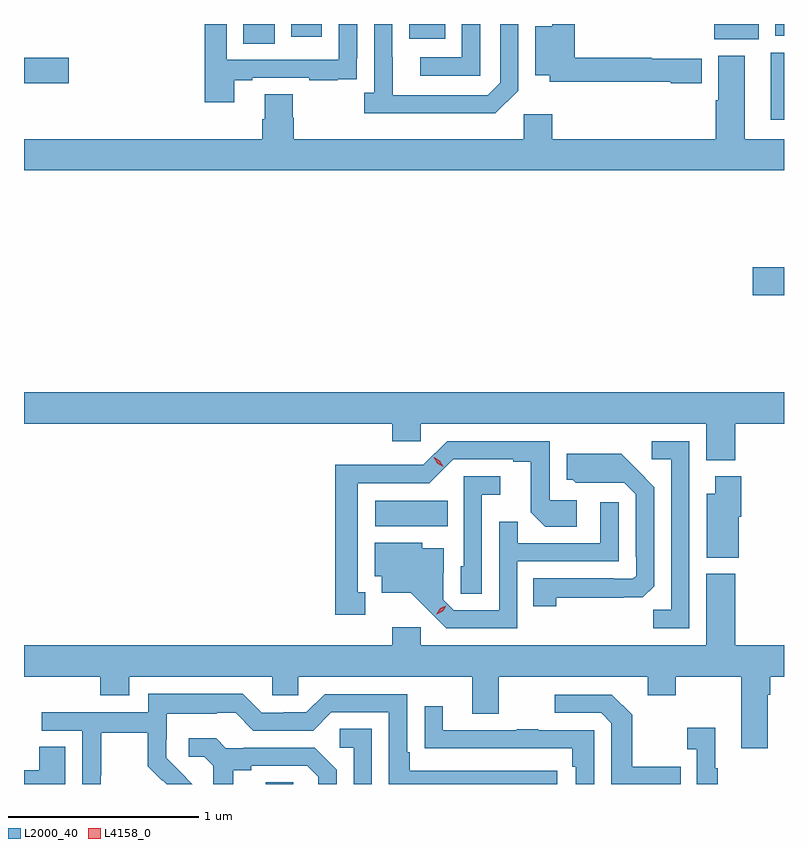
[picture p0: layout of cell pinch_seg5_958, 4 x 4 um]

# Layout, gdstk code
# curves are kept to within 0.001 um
import gdstk
lib = gdstk.Library(unit=1e-6, precision=1e-09)
def R(c, l, rs):  # rectangles x0, y0, x1, y1
    for r in rs: c.add(gdstk.rectangle(r[:2], r[2:], *l))
def P(c, l, *ps):  # polygons
    for p in ps: c.add(gdstk.Polygon(p, *l))
L2000_40 = (2000, 40)
L4158_0 = (4158, 0)

pinch_seg5_958 = lib.new_cell('pinch_seg5_958')
R(pinch_seg5_958, L2000_40, [(754.181,876.175,754.326,876.185), (754.758,877.532,755.138,877.666), (756.744,878.747,756.909,878.894), (756.839,879.672,756.909,880.024), (752.909,879.863,753.145,879.998), (754.064,880.072,754.228,880.175), (756.542,880.094,756.775,880.175), (754.937,880.097,755.125,880.175), (754.316,880.107,754.477,880.175), (756.863,880.112,756.909,880.175)])
P(pinch_seg5_958, L2000_40, [(755.511,879.825),(755.511,880.175),(755.415,880.175),(755.415,879.867),(755.349,879.801),(754.849,879.801),(754.848,880.175),(754.752,880.175),(754.752,879.814),(754.701,879.814),(754.701,879.704),(755.39,879.704)],
  [(755.31,880.175),(755.214,880.175),(755.214,879.999),(754.995,879.999),(754.995,879.903),(755.31,879.903)],
  [(756.475,879.991),(756.212,879.991),(756.212,879.998),(755.807,879.998),(755.807,880.175),(755.69,880.175),(755.69,880.162),(755.6,880.162),(755.6,879.905),(755.676,879.905),(755.676,879.87),(756.312,879.87),(756.312,879.862),(756.475,879.862)],
  [(754.015,879.879),(754.111,879.879),(754.111,879.891),(754.411,879.891),(754.411,879.879),(754.559,879.879),(754.559,879.885),(754.661,879.885),(754.661,879.994),(754.662,879.994),(754.662,880.175),(754.566,880.175),(754.566,879.987),(753.975,879.987),(753.975,880.175),(753.859,880.175),(753.859,879.762),(754.015,879.762)],
  [(756.909,879.568),(756.703,879.568),(756.703,880.009),(756.563,880.009),(756.563,879.773),(756.551,879.773),(756.551,879.568),(755.69,879.568),(755.69,879.7),(755.538,879.7),(755.538,879.568),(754.328,879.568),(754.328,879.681),(754.323,879.681),(754.323,879.806),(754.175,879.806),(754.175,879.674),(754.163,879.674),(754.163,879.568),(752.909,879.568),(752.909,879.404),(756.909,879.404)],
  [(756.653,878.072),(756.909,878.072),(756.909,878.236),(752.909,878.236),(752.909,878.072),(754.847,878.072),(754.847,877.979),(754.998,877.979),(754.998,878.072),(756.5,878.072),(756.5,877.88),(756.653,877.88)],
  [(754.705,877.185),(754.666,877.185),(754.666,877.758),(755.043,877.758),(755.169,877.884),(755.483,877.884),(755.483,877.872),(755.577,877.872),(755.577,877.604),(755.653,877.528),(755.818,877.528),(755.818,877.668),(755.676,877.668),(755.676,877.98),(755.136,877.98),(755.01,877.854),(754.788,877.854),(754.788,877.856),(754.548,877.856),(754.548,877.065),(754.705,877.065)],
  [(756.411,877.98),(756.213,877.98),(756.213,877.884),(756.315,877.884),(756.315,877.091),(756.22,877.091),(756.22,876.996),(756.411,876.996)],
  [(755.709,877.156),(756.166,877.157),(756.225,877.216),(756.225,877.738),(756.053,877.912),(755.765,877.912),(755.765,877.776),(755.796,877.776),(755.812,877.76),(756.069,877.761),(756.129,877.701),(756.129,877.372),(756.132,877.372),(756.132,877.272),(756.114,877.254),(756.014,877.254),(756.014,877.257),(755.59,877.257),(755.59,877.11),(755.709,877.11)],
  [(756.67,877.581),(756.683,877.581),(756.683,877.795),(756.548,877.795),(756.548,877.702),(756.503,877.702),(756.503,877.367),(756.67,877.367)],
  [(755.319,877.697),(755.416,877.697),(755.416,877.794),(755.223,877.794),(755.223,877.32),(755.208,877.32),(755.208,877.177),(755.319,877.177)],
  [(755.505,877.347),(756.039,877.347),(756.039,877.657),(755.943,877.657),(755.943,877.443),(755.507,877.443),(755.507,877.556),(755.409,877.556),(755.409,877.089),(755.172,877.089),(755.115,877.146),(755.115,877.288),(755.119,877.288),(755.119,877.417),(755.004,877.417),(755.004,877.444),(754.754,877.444),(754.754,877.268),(754.793,877.268),(754.793,877.181),(754.945,877.181),(755.132,876.996),(755.505,876.996)],
  [(756.823,876.644),(756.836,876.644),(756.836,876.74),(756.909,876.74),(756.909,876.904),(756.653,876.904),(756.653,877.282),(756.5,877.282),(756.5,876.904),(754.998,876.904),(754.998,877),(754.847,877),(754.847,876.904),(752.909,876.904),(752.909,876.74),(753.311,876.74),(753.311,876.641),(753.463,876.641),(753.463,876.74),(754.215,876.74),(754.215,876.642),(754.353,876.642),(754.353,876.74),(755.267,876.74),(755.267,876.546),(755.407,876.546),(755.407,876.74),(756.191,876.74),(756.191,876.641),(756.339,876.641),(756.339,876.74),(756.683,876.74),(756.683,876.363),(756.823,876.363)],
  [(753.312,876.22),(753.315,876.22),(753.315,876.444),(753.559,876.444),(753.559,876.269),(753.636,876.192),(753.639,876.195),(753.659,876.175),(753.795,876.175),(753.658,876.314),(753.658,876.411),(753.66,876.411),(753.66,876.545),(753.923,876.545),(753.923,876.549),(754.023,876.549),(754.116,876.456),(754.431,876.456),(754.527,876.552),(754.83,876.552),(754.83,876.175),(755.716,876.175),(755.716,876.246),(754.939,876.246),(754.939,876.343),(754.926,876.343),(754.926,876.648),(754.491,876.648),(754.395,876.552),(754.277,876.552),(754.277,876.549),(754.161,876.549),(754.061,876.649),(753.564,876.649),(753.564,876.552),(753.003,876.552),(753.003,876.456),(753.216,876.456),(753.216,876.175),(753.312,876.175)],
  [(756.365,876.267),(756.109,876.267),(756.109,876.539),(756.003,876.645),(755.703,876.645),(755.703,876.549),(755.946,876.549),(756,876.495),(756,876.175),(756.365,876.175)],
  [(755.91,876.459),(755.615,876.459),(755.615,876.464),(755.503,876.464),(755.503,876.459),(755.113,876.459),(755.113,876.583),(755.017,876.583),(755.017,876.364),(755.119,876.364),(755.119,876.363),(755.794,876.363),(755.794,876.266),(755.814,876.266),(755.814,876.175),(755.91,876.175)],
  [(756.559,876.259),(756.547,876.259),(756.547,876.472),(756.399,876.472),(756.399,876.359),(756.45,876.359),(756.45,876.175),(756.559,876.175)],
  [(754.74,876.467),(754.572,876.467),(754.572,876.366),(754.644,876.366),(754.644,876.175),(754.74,876.175)],
  [(754.009,876.248),(754.105,876.248),(754.105,876.27),(754.4,876.27),(754.457,876.213),(754.457,876.175),(754.554,876.175),(754.554,876.25),(754.438,876.366),(754.066,876.366),(754.066,876.363),(753.972,876.363),(753.92,876.415),(753.777,876.415),(753.777,876.318),(753.858,876.318),(753.905,876.271),(753.905,876.175),(754.009,876.175)],
  [(753.127,876.371),(752.989,876.371),(752.989,876.248),(752.909,876.248),(752.909,876.175),(753.127,876.175)])
P(pinch_seg5_958, L4158_0, [(755.082,877.069),(755.082,877.07),(755.1,877.099),(755.131,877.114),(755.132,877.114),(755.132,877.113),(755.113,877.084),(755.082,877.069)],
  [(755.116,877.844),(755.084,877.863),(755.066,877.896),(755.066,877.896),(755.067,877.896),(755.098,877.877),(755.116,877.845),(755.116,877.844)])

lib.write_gds('pinch_seg5_958.gds')
